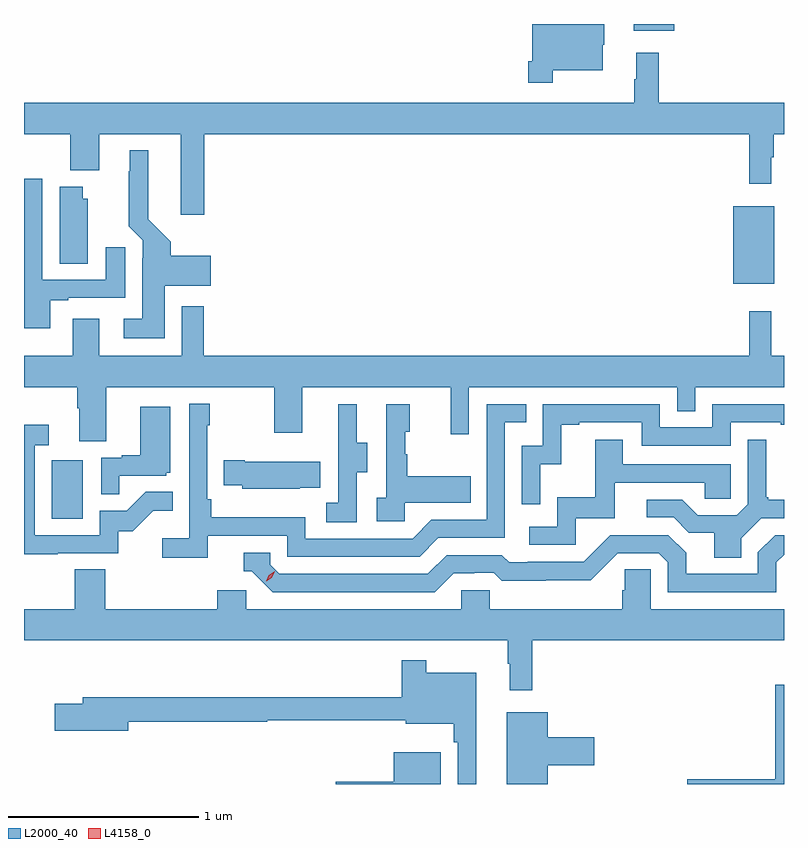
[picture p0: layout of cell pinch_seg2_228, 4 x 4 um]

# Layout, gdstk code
import gdstk
lib = gdstk.Library(unit=1e-6, precision=1e-09)
def R(c, l, rs):  # rectangles x0, y0, x1, y1
    for r in rs: c.add(gdstk.rectangle(r[:2], r[2:], *l))
def P(c, l, *ps):  # polygons
    for p in ps: c.add(gdstk.Polygon(p, *l))
L2000_40 = (2000, 40)
L4158_0 = (4158, 0)

pinch_seg2_228 = lib.new_cell('pinch_seg2_228')
R(pinch_seg2_228, L2000_40, [(908.798,656.268,908.962,656.575), (912.386,657.503,912.601,657.913), (911.861,658.835,912.076,658.871)])
P(pinch_seg2_228, L2000_40, [(911.437,658.628),(911.698,658.628),(911.698,658.761),(911.707,658.761),(911.707,658.871),(911.328,658.871),(911.328,658.675),(911.308,658.675),(911.308,658.563),(911.437,658.563)],
  [(909.602,658.292),(912.469,658.292),(912.469,658.029),(912.586,658.029),(912.586,658.169),(912.598,658.169),(912.598,658.292),(912.653,658.292),(912.653,658.456),(911.993,658.456),(911.993,658.72),(911.876,658.72),(911.876,658.58),(911.865,658.58),(911.865,658.456),(908.653,658.456),(908.653,658.292),(908.897,658.292),(908.897,658.1),(909.049,658.1),(909.049,658.292),(909.479,658.292),(909.479,657.867),(909.602,657.867)],
  [(909.394,657.494),(909.637,657.494),(909.637,657.652),(909.425,657.652),(909.425,657.726),(909.307,657.844),(909.307,658.207),(909.209,658.207),(909.209,658.097),(909.205,658.097),(909.205,657.806),(909.279,657.732),(909.279,657.638),(909.275,657.638),(909.275,657.319),(909.177,657.319),(909.177,657.218),(909.394,657.218)],
  [(908.791,657.417),(908.887,657.417),(908.887,657.429),(909.187,657.429),(909.187,657.697),(909.083,657.697),(909.083,657.525),(908.749,657.525),(908.749,658.057),(908.653,658.057),(908.653,657.27),(908.791,657.27)],
  [(908.989,657.951),(908.962,657.951),(908.962,658.015),(908.84,658.015),(908.84,657.61),(908.989,657.61)],
  [(909.085,656.96),(909.97,656.96),(909.97,656.721),(910.117,656.721),(910.117,656.96),(910.898,656.96),(910.898,656.712),(910.995,656.712),(910.995,656.96),(912.09,656.96),(912.09,656.833),(912.186,656.833),(912.186,656.96),(912.653,656.96),(912.653,657.124),(912.587,657.124),(912.587,657.358),(912.469,657.358),(912.469,657.124),(909.599,657.124),(909.599,657.385),(909.483,657.385),(909.483,657.124),(909.049,657.124),(909.049,657.319),(908.909,657.319),(908.909,657.124),(908.653,657.124),(908.653,656.96),(908.933,656.96),(908.933,656.848),(908.945,656.848),(908.945,656.674),(909.085,656.674)],
  [(909.62,656.178),(910.038,656.178),(910.038,656.067),(910.735,656.067),(910.834,656.166),(911.184,656.166),(911.184,656.775),(911.297,656.775),(911.297,656.871),(911.088,656.871),(911.088,656.262),(910.797,656.262),(910.698,656.163),(910.134,656.163),(910.134,656.275),(909.638,656.275),(909.638,656.371),(909.618,656.371),(909.618,656.759),(909.631,656.759),(909.631,656.872),(909.522,656.872),(909.522,656.164),(909.381,656.164),(909.381,656.062),(909.62,656.062)],
  [(911.37,656.555),(911.48,656.555),(911.48,656.763),(911.575,656.763),(911.575,656.775),(911.904,656.775),(911.904,656.652),(912.372,656.652),(912.372,656.775),(912.635,656.775),(912.635,656.763),(912.653,656.763),(912.653,656.871),(912.276,656.871),(912.276,656.748),(912,656.748),(912,656.871),(911.382,656.871),(911.382,656.652),(911.274,656.652),(911.274,656.343),(911.37,656.343)],
  [(910.656,656.351),(911.003,656.351),(911.003,656.491),(910.669,656.491),(910.669,656.606),(910.659,656.606),(910.659,656.724),(910.684,656.724),(910.684,656.869),(910.56,656.869),(910.56,656.378),(910.509,656.378),(910.509,656.253),(910.656,656.253)],
  [(910.404,656.512),(910.459,656.512),(910.459,656.667),(910.405,656.667),(910.405,656.869),(910.307,656.869),(910.307,656.655),(910.308,656.655),(910.308,656.351),(910.245,656.351),(910.245,656.248),(910.404,656.248)],
  [(909.155,656.493),(909.402,656.493),(909.402,656.508),(909.424,656.508),(909.424,656.857),(909.266,656.857),(909.266,656.602),(909.167,656.602),(909.167,656.589),(909.06,656.589),(909.06,656.395),(909.155,656.395)],
  [(908.831,656.085),(909.15,656.085),(909.15,656.202),(909.226,656.202),(909.333,656.309),(909.437,656.309),(909.437,656.408),(909.293,656.408),(909.195,656.31),(909.051,656.31),(909.051,656.181),(908.709,656.181),(908.709,656.655),(908.782,656.655),(908.782,656.761),(908.653,656.761),(908.653,656.08),(908.831,656.08)],
  [(911.556,656.271),(911.761,656.271),(911.761,656.457),(912.235,656.457),(912.235,656.373),(912.372,656.373),(912.372,656.553),(911.803,656.553),(911.803,656.683),(911.659,656.683),(911.659,656.38),(911.46,656.38),(911.46,656.226),(911.313,656.226),(911.313,656.13),(911.556,656.13)],
  [(912.427,656.164),(912.534,656.271),(912.653,656.271),(912.653,656.368),(912.571,656.368),(912.571,656.38),(912.559,656.38),(912.559,656.683),(912.462,656.683),(912.462,656.343),(912.405,656.286),(912.199,656.286),(912.118,656.367),(911.931,656.367),(911.931,656.274),(912.072,656.274),(912.152,656.194),(912.287,656.194),(912.287,656.062),(912.427,656.062)],
  [(910.103,656.429),(910.211,656.429),(910.211,656.566),(909.814,656.566),(909.814,656.574),(909.703,656.574),(909.703,656.444),(909.801,656.444),(909.801,656.426),(910.103,656.426)],
  [(910.915,655.98),(911.022,655.98),(911.022,655.983),(911.125,655.983),(911.167,655.941),(911.4,655.941),(911.4,655.943),(911.636,655.943),(911.778,656.085),(911.994,656.085),(912.042,656.037),(912.042,655.881),(912.612,655.881),(912.612,656.037),(912.653,656.078),(912.653,656.181),(912.606,656.181),(912.516,656.091),(912.516,655.977),(912.139,655.977),(912.139,656.087),(912.045,656.181),(911.739,656.181),(911.598,656.04),(911.305,656.04),(911.305,656.037),(911.206,656.037),(911.167,656.076),(910.878,656.076),(910.779,655.977),(909.996,655.977),(909.948,656.025),(909.948,656.088),(909.809,656.088),(909.809,655.992),(909.852,655.992),(909.963,655.881),(910.816,655.881)],
  [(911.327,655.628),(912.653,655.628),(912.653,655.792),(911.952,655.792),(911.952,656),(911.815,656),(911.815,655.89),(911.801,655.89),(911.801,655.792),(911.103,655.792),(911.103,655.89),(910.953,655.89),(910.953,655.792),(909.822,655.792),(909.822,655.89),(909.671,655.89),(909.671,655.792),(909.08,655.792),(909.08,656),(908.92,656),(908.92,655.792),(908.653,655.792),(908.653,655.628),(911.199,655.628),(911.199,655.505),(911.21,655.505),(911.21,655.365),(911.327,655.365)],
  [(911.032,655.456),(910.771,655.456),(910.771,655.522),(910.642,655.522),(910.642,655.327),(908.963,655.327),(908.963,655.293),(908.814,655.293),(908.814,655.151),(909.202,655.151),(909.202,655.198),(909.932,655.198),(909.932,655.206),(910.661,655.206),(910.661,655.187),(910.915,655.187),(910.915,655.091),(910.935,655.091),(910.935,654.871),(911.032,654.871)],
  [(912.653,655.393),(912.608,655.393),(912.608,654.896),(912.144,654.896),(912.144,654.871),(912.653,654.871)],
  [(911.41,654.971),(911.653,654.971),(911.653,655.118),(911.41,655.118),(911.41,655.249),(911.195,655.249),(911.195,654.871),(911.41,654.871)],
  [(910.846,655.039),(910.598,655.039),(910.598,654.883),(910.295,654.883),(910.295,654.871),(910.846,654.871)])
P(pinch_seg2_228, L4158_0, [(909.927,655.937),(909.927,655.937),(909.942,655.97),(909.972,655.991),(909.973,655.991),(909.973,655.99),(909.957,655.957),(909.927,655.937)])

lib.write_gds('pinch_seg2_228.gds')
